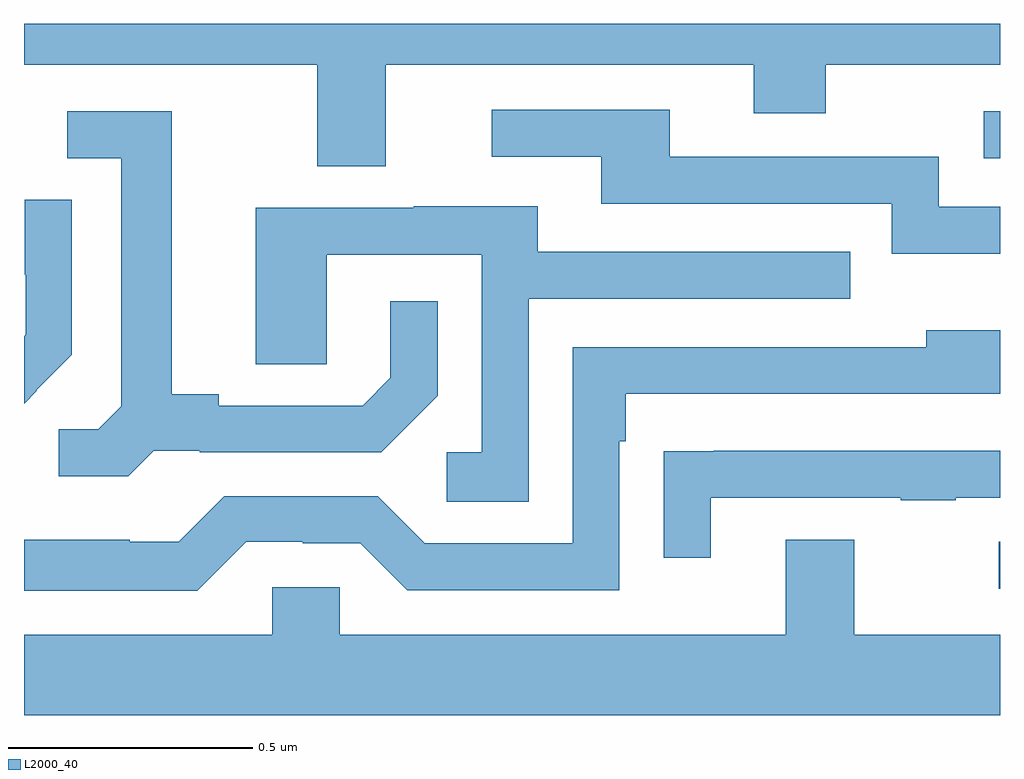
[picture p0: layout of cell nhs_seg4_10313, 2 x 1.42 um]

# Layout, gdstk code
import gdstk
lib = gdstk.Library(unit=1e-6, precision=1e-09)
def R(c, l, rs):  # rectangles x0, y0, x1, y1
    for r in rs: c.add(gdstk.rectangle(r[:2], r[2:], *l))
def P(c, l, *ps):  # polygons
    for p in ps: c.add(gdstk.Polygon(p, *l))
L2000_40 = (2000, 40)

nhs_seg4_10313 = lib.new_cell('nhs_seg4_10313')
R(nhs_seg4_10313, L2000_40, [(239.997,799.743,240,799.839), (239.967,800.625,240,800.721)])
P(nhs_seg4_10313, L2000_40, [(238.741,800.816),(239.495,800.816),(239.495,800.717),(239.643,800.717),(239.643,800.816),(240,800.816),(240,800.9),(238,800.9),(238,800.816),(238.601,800.816),(238.601,800.608),(238.741,800.608)],
  [(240,800.526),(239.874,800.526),(239.874,800.628),(239.323,800.628),(239.323,800.724),(238.959,800.724),(238.959,800.628),(239.183,800.628),(239.183,800.532),(239.778,800.532),(239.778,800.429),(240,800.429)],
  [(238.266,800.025),(238.36,800.025),(238.36,800.022),(238.732,800.022),(238.848,800.138),(238.848,800.332),(238.751,800.332),(238.751,800.175),(238.694,800.118),(238.399,800.118),(238.399,800.141),(238.303,800.141),(238.303,800.721),(238.089,800.721),(238.089,800.625),(238.199,800.625),(238.199,800.117),(238.152,800.07),(238.071,800.07),(238.071,799.973),(238.214,799.973)],
  [(238.026,800.148),(238.025,800.149),(238.098,800.222),(238.098,800.54),(238.002,800.54),(238.002,800.386),(238.004,800.386),(238.004,800.264),(238,800.26),(238,800.122)],
  [(239.034,800.337),(239.693,800.337),(239.693,800.433),(239.053,800.433),(239.053,800.527),(238.799,800.527),(238.799,800.523),(238.475,800.523),(238.475,800.203),(238.62,800.203),(238.62,800.427),(238.938,800.427),(238.938,800.022),(238.866,800.022),(238.866,799.921),(239.034,799.921)],
  [(238.455,799.839),(238.571,799.839),(238.571,799.836),(238.689,799.836),(238.785,799.74),(239.22,799.74),(239.22,800.045),(239.233,800.045),(239.233,800.142),(240,800.142),(240,800.272),(239.849,800.272),(239.849,800.238),(239.124,800.238),(239.124,799.836),(238.821,799.836),(238.725,799.932),(238.41,799.932),(238.317,799.839),(238.217,799.839),(238.217,799.843),(238,799.843),(238,799.739),(238.355,799.739)],
  [(239.407,799.929),(239.797,799.929),(239.797,799.924),(239.909,799.924),(239.909,799.929),(240,799.929),(240,800.025),(239.413,800.025),(239.413,800.024),(239.311,800.024),(239.311,799.806),(239.407,799.806)],
  [(240,799.648),(239.701,799.648),(239.701,799.843),(239.561,799.843),(239.561,799.648),(238.647,799.648),(238.647,799.746),(238.509,799.746),(238.509,799.648),(238,799.648),(238,799.484),(240,799.484)])

lib.write_gds('nhs_seg4_10313.gds')
